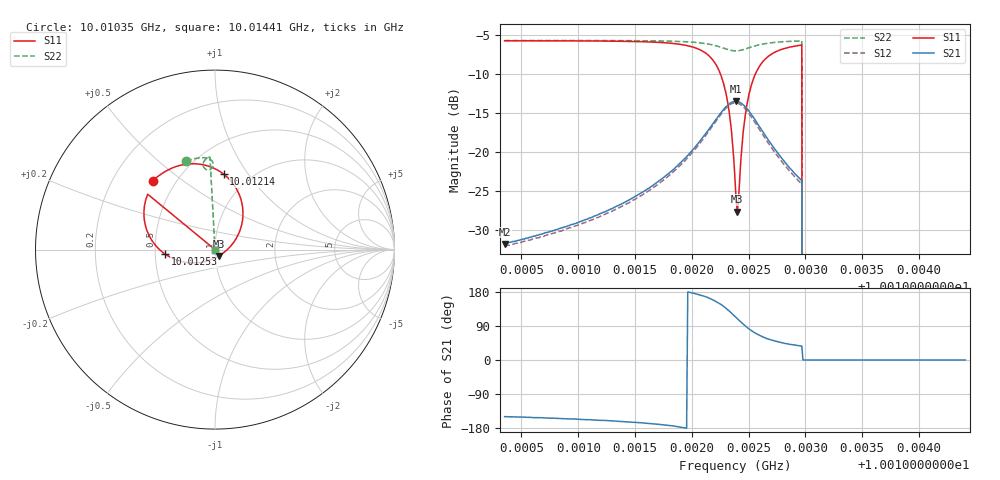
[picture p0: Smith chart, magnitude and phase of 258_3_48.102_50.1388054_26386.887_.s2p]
#  HZ  S  RI  R  50.00
! Rohde & Schwarz Vector Network Analyzer
! Rohde-Schwarz,ZNB20-2Port,1311601062101988,3.16
! Created: UTC 12/23/2023, 4:00:29 AM
! freq[Hz]  re:S11  im:S11  re:S21  im:S21  re:S12  im:S12  re:S22  im:S22
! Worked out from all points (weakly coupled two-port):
!   401 points, 10.01035 GHz to 10.01441 GHz, reference 50 ohm
!   highest |S21| = -13.49 dB at 10.01239 GHz (marker M1); lowest = -31.8 dB at 10.01035 GHz (marker M2)
!   lowest |S11| = -27.6 dB at 10.0124 GHz (marker M3), VSWR 1.09, Z = 52.1 - j3.69 ohm
!   |S11| at or under -10 dB: 10.01225 GHz to 10.01256 GHz (307.3 kHz wide, 0.00307 % of centre); 10.01297 GHz to end of sweep
!   |S22| runs from - to -5.7 dB; largest |S21 - S12| = 0.0098
!   S11 on the Smith chart (normalised r, x): 10.01035 GHz: 0.37, +0.39; 10.01214 GHz: 0.76, +0.78; 10.01253 GHz: 0.56, -0.03; 10.01441 GHz: 1.00, +0.00
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1.0010351e10  -0.3461 0.3844  -0.0221 -0.0131  -0.0207 -0.0138  -0.1603 0.4938
1.0011031e10  -0.2896 0.4278  -0.0333 -0.0141  -0.0312 -0.0153  -0.1151 0.5065
1.0011711e10  -0.1768 0.4732  -0.0642 -0.0115  -0.0611 -0.0144  -0.0625 0.5123
1.0011944e10  -0.087 0.4762  -0.0918 -0.000992  -0.0884 -0.00573  -0.0392 0.5087
1.0012137e10  0.0485 0.4201  -0.1311 0.0344  -0.1291 0.027  -0.0167 0.4938
1.0012228e10  0.1281 0.3222  -0.1476 0.0796  -0.1484 0.0699  -0.00942 0.477
1.0012299e10  0.1554 0.1843  -0.1424 0.1322  -0.1455 0.1234  -0.0126 0.4589
1.001234e10  0.1309 0.0867  -0.1224 0.166  -0.1267 0.1576  -0.0208 0.4495
1.001238e10  0.0666 -0.00183  -0.0889 0.1919  -0.0943 0.1843  -0.033 0.4442
1.0012391e10  0.0453 -0.0195  -0.0792 0.1962  -0.0849 0.1887  -0.0363 0.4439
1.0012401e10  0.0217 -0.0354  -0.0692 0.1995  -0.0747 0.1922  -0.0398 0.4439
1.0012421e10  -0.028 -0.0588  -0.0489 0.2028  -0.0533 0.1965  -0.0463 0.4454
1.0012451e10  -0.1085 -0.0744  -0.0174 0.2005  -0.022 0.1945  -0.055 0.45
1.0012472e10  -0.1581 -0.0719  0.00111 0.1949  -0.0045 0.1888  -0.0595 0.4542
1.0012533e10  -0.2795 -0.0238  0.042 0.1658  0.0353 0.1608  -0.0661 0.4695
1.0012593e10  -0.3494 0.0479  0.0605 0.1334  0.054 0.1296  -0.0652 0.4831
1.0012675e10  -0.3882 0.1365  0.0681 0.0976  0.0614 0.0958  -0.0584 0.4962
1.0012949e10  -0.3776 0.3014  0.0536 0.0413  0.049 0.0415  -0.03 0.5148
1.0012999e10  0 0  0 0  0 0  0 0
1.001306e10  0 0  0 0  0 0  0 0
1.001374e10  0 0  0 0  0 0  0 0
1.001441e10  0 0  0 0  0 0  0 0
